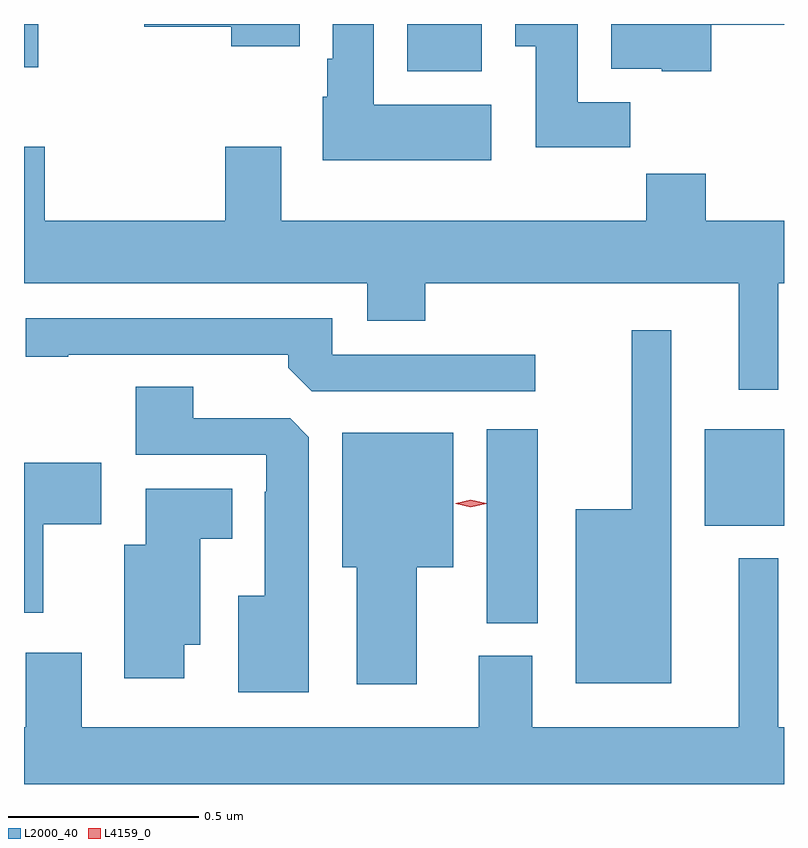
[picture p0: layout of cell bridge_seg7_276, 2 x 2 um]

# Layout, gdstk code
import gdstk
lib = gdstk.Library(unit=1e-6, precision=1e-09)
def R(c, l, rs):  # rectangles x0, y0, x1, y1
    for r in rs: c.add(gdstk.rectangle(r[:2], r[2:], *l))
def P(c, l, *ps):  # polygons
    for p in ps: c.add(gdstk.Polygon(p, *l))
L2000_40 = (2000, 40)
L4159_0 = (4159, 0)

bridge_seg7_276 = lib.new_cell('bridge_seg7_276')
R(bridge_seg7_276, L2000_40, [(145.148,1050.337,145.282,1050.847), (145.721,1050.593,145.93,1050.847), (144.938,1051.79,145.135,1051.914), (143.93,1051.8,143.968,1051.914)])
P(bridge_seg7_276, L2000_40, [(145.738,1051.912),(145.93,1051.912),(145.93,1051.914),(145.475,1051.914),(145.475,1051.796),(145.608,1051.796),(145.608,1051.79),(145.738,1051.79)],
  [(144.655,1051.914),(144.246,1051.914),(144.246,1051.907),(144.476,1051.907),(144.476,1051.856),(144.655,1051.856)],
  [(145.159,1051.702),(144.85,1051.702),(144.85,1051.914),(144.743,1051.914),(144.743,1051.822),(144.728,1051.822),(144.728,1051.722),(144.716,1051.722),(144.716,1051.556),(145.159,1051.556)],
  [(145.526,1051.708),(145.387,1051.708),(145.387,1051.914),(145.223,1051.914),(145.223,1051.856),(145.277,1051.856),(145.277,1051.59),(145.526,1051.59)],
  [(144.607,1051.591),(144.46,1051.591),(144.46,1051.396),(143.985,1051.396),(143.985,1051.591),(143.93,1051.591),(143.93,1051.232),(144.833,1051.232),(144.833,1051.133),(144.986,1051.133),(144.986,1051.232),(145.811,1051.232),(145.811,1050.951),(145.915,1050.951),(145.915,1051.232),(145.93,1051.232),(145.93,1051.396),(145.724,1051.396),(145.724,1051.52),(145.567,1051.52),(145.567,1051.396),(144.607,1051.396)],
  [(145.276,1051.044),(144.741,1051.044),(144.741,1051.14),(143.934,1051.14),(143.934,1051.039),(144.046,1051.039),(144.046,1051.044),(144.626,1051.044),(144.626,1051.01),(144.687,1050.948),(145.276,1050.948)],
  [(145.633,1051.108),(145.529,1051.108),(145.529,1050.637),(145.382,1050.637),(145.382,1050.179),(145.633,1050.179)],
  [(144.679,1050.827),(144.63,1050.876),(144.376,1050.876),(144.376,1050.959),(144.224,1050.959),(144.224,1050.78),(144.567,1050.78),(144.567,1050.683),(144.563,1050.683),(144.563,1050.409),(144.494,1050.409),(144.494,1050.155),(144.679,1050.155)],
  [(144.964,1050.485),(145.06,1050.485),(145.06,1050.838),(144.767,1050.838),(144.767,1050.485),(144.806,1050.485),(144.806,1050.177),(144.964,1050.177)],
  [(143.98,1050.598),(144.133,1050.598),(144.133,1050.76),(143.93,1050.76),(143.93,1050.365),(143.98,1050.365)],
  [(144.352,1050.281),(144.394,1050.281),(144.394,1050.56),(144.478,1050.56),(144.478,1050.691),(144.251,1050.691),(144.251,1050.544),(144.194,1050.544),(144.194,1050.192),(144.352,1050.192)],
  [(145.811,1050.508),(145.811,1050.064),(145.267,1050.064),(145.267,1050.252),(145.127,1050.252),(145.127,1050.064),(144.082,1050.064),(144.082,1050.259),(143.935,1050.259),(143.935,1050.064),(143.93,1050.064),(143.93,1049.914),(145.93,1049.914),(145.93,1050.064),(145.915,1050.064),(145.915,1050.508)])
P(bridge_seg7_276, L4159_0, [(145.106,1050.642),(145.066,1050.652),(145.066,1050.652),(145.066,1050.653),(145.106,1050.662),(145.146,1050.653),(145.146,1050.652),(145.146,1050.652)])

lib.write_gds('bridge_seg7_276.gds')
